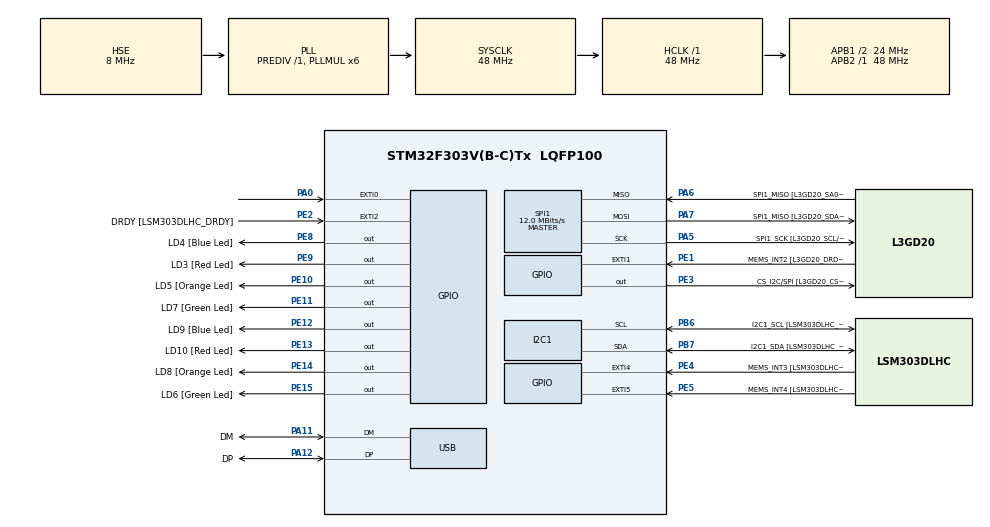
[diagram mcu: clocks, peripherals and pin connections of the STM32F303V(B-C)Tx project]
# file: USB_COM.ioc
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I2C1.Timing-I2C=0x2000090E
Mcu.Family=STM32F3
Mcu.Name=STM32F303V(B-C)Tx
Mcu.Package=LQFP100
NVIC.EXTI0_IRQn=true\:0\:0\:false\:false\:true\:true\:true
NVIC.PVD_IRQn=true\:0\:0\:false\:false\:true\:true\:true
NVIC.PriorityGroup=NVIC_PRIORITYGROUP_4
NVIC.USB_LP_CAN_RX0_IRQn=true\:0\:0\:false\:false\:true\:false\:true
PA0.Signal=GPXTI0
PA11.GPIO_Label=DM
PA11.Mode=Device
PA11.Signal=USB_DM
PA12.GPIO_Label=DP
PA12.Mode=Device
PA12.Signal=USB_DP
PA13.GPIO_Label=SWDIO
PA13.Mode=Serial_Wire
PA13.Signal=SYS_JTMS-SWDIO
PA14.GPIO_Label=SWCLK
PA14.Mode=Serial_Wire
PA14.Signal=SYS_JTCK-SWCLK
PA5.GPIO_Label=SPI1_SCK [L3GD20_SCL/SPC]
PA5.Mode=Full_Duplex_Master
PA5.Signal=SPI1_SCK
PA6.GPIO_Label=SPI1_MISO [L3GD20_SA0/SDO]
PA6.Mode=Full_Duplex_Master
PA6.Signal=SPI1_MISO
PA7.GPIO_Label=SPI1_MISO [L3GD20_SDA/SDI/SDO]
PA7.Mode=Full_Duplex_Master
PA7.Signal=SPI1_MOSI
PB3.GPIO_Label=SWO
PB3.Signal=SYS_JTDO-TRACESWO
PB6.GPIO_Label=I2C1_SCL [LSM303DLHC_SCL]
PB6.Mode=I2C
PB6.Signal=I2C1_SCL
PB7.GPIO_Label=I2C1_SDA [LSM303DLHC_SDA]
PB7.Mode=I2C
PB7.Signal=I2C1_SDA
PC14-OSC32_IN.GPIO_Label=OSC32_IN
PC14-OSC32_IN.Signal=RCC_OSC32_IN
PC15-OSC32_OUT.GPIO_Label=OSC32_OUT
PC15-OSC32_OUT.Signal=RCC_OSC32_OUT
PE1.GPIO_Label=MEMS_INT2 [L3GD20_DRDY/INT2]
PE1.GPIO_ModeDefaultEXTI=GPIO_MODE_EVT_RISING
PE1.Signal=GPXTI1
PE10.GPIO_Label=LD5 [Orange Led]
PE10.Signal=GPIO_Output
PE11.GPIO_Label=LD7 [Green Led]
PE11.Signal=GPIO_Output
PE12.GPIO_Label=LD9 [Blue Led]
PE12.Signal=GPIO_Output
PE13.GPIO_Label=LD10 [Red Led]
PE13.Signal=GPIO_Output
PE14.GPIO_Label=LD8 [Orange Led]
PE14.Signal=GPIO_Output
PE15.GPIO_Label=LD6 [Green Led]
PE15.Signal=GPIO_Output
PE2.GPIO_Label=DRDY [LSM303DLHC_DRDY]
PE2.GPIO_ModeDefaultEXTI=GPIO_MODE_EVT_RISING
PE2.Signal=GPXTI2
PE3.GPIO_Label=CS_I2C/SPI [L3GD20_CS_I2C/SPI]
PE3.Signal=GPIO_Output
PE4.GPIO_Label=MEMS_INT3 [LSM303DLHC_INT1]
PE4.GPIO_ModeDefaultEXTI=GPIO_MODE_EVT_RISING
PE4.Signal=GPXTI4
PE5.GPIO_Label=MEMS_INT4 [LSM303DLHC_INT2]
PE5.GPIO_ModeDefaultEXTI=GPIO_MODE_EVT_RISING
PE5.Signal=GPXTI5
PE8.GPIO_Label=LD4 [Blue Led]
PE8.Signal=GPIO_Output
PE9.GPIO_Label=LD3 [Red Led]
PE9.Signal=GPIO_Output
PF0-OSC_IN.GPIO_Label=OSC_IN
PF0-OSC_IN.Mode=HSE-External-Clock-Source
PF0-OSC_IN.Signal=RCC_OSC_IN
PF1-OSC_OUT.GPIO_Label=OSC_OUT
PF1-OSC_OUT.Signal=RCC_OSC_OUT
ProjectManager.HeapSize=0x200
ProjectManager.StackSize=0x400
ProjectManager.TargetToolchain=MDK-ARM V5
RCC.AHBFreq_Value=48000000
RCC.APB1CLKDivider=RCC_HCLK_DIV2
RCC.APB1Freq_Value=24000000
RCC.APB1TimFreq_Value=48000000
RCC.APB2Freq_Value=48000000
RCC.APB2TimFreq_Value=48000000
RCC.CortexFreq_Value=48000000
RCC.HCLKFreq_Value=48000000
RCC.HSE_VALUE=8000000
RCC.HSI_VALUE=8000000
RCC.LSE_VALUE=32768
RCC.PLLMUL=RCC_PLL_MUL6
RCC.SYSCLKFreq_VALUE=48000000
RCC.SYSCLKSourceVirtual=RCC_SYSCLKSOURCE_PLLCLK
RCC.USBFreq_Value=48000000
SPI1.BaudRatePrescaler=SPI_BAUDRATEPRESCALER_4
SPI1.BaudRatePrescaler-Full_Duplex_Master=SPI_BAUDRATEPRESCALER_2
SPI1.CalculateBaudRate=12.0 MBits/s
SPI1.CalculateBaudRate-Full_Duplex_Master=24.0 MBits/s
SPI1.DataSize=SPI_DATASIZE_8BIT
SPI1.Direction=SPI_DIRECTION_2LINES
SPI1.Mode=SPI_MODE_MASTER
SPI1.Mode-Full_Duplex_Master=SPI_MODE_MASTER
SPI1.VirtualType=VM_MASTER
USB_DEVICE.CLASS_NAME_FS=CDC
USB_DEVICE.VirtualMode=Cdc
USB_DEVICE.VirtualModeFS=Cdc_FS
VP_USB_DEVICE_VS_USB_DEVICE_CDC_FS.Mode=CDC_FS
board=STM32F3DISCOVERY

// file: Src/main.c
/* USER CODE BEGIN Header */
/**
  ******************************************************************************
  * @file           : main.c
  * @brief          : Main program body
  ******************************************************************************
  * @attention
  *
  * <h2><center>&copy; Copyright (c) 2019 STMicroelectronics.
  * All rights reserved.</center></h2>
  *
  * This software component is licensed by ST under Ultimate Liberty license
  * SLA0044, the "License"; You may not use this file except in compliance with
  * the License. You may obtain a copy of the License at:
  *                             www.st.com/SLA0044
  *
  ******************************************************************************
  */
/* USER CODE END Header */

#include "main.h"
#include "usb_device.h"

/* USER CODE BEGIN PTD */
_Bool Flag=0;
/* USER CODE END PTD */

I2C_HandleTypeDef hi2c1;

SPI_HandleTypeDef hspi1;

void SystemClock_Config(void);
static void MX_GPIO_Init(void);
static void MX_I2C1_Init(void);
static void MX_SPI1_Init(void);

int main(void)
{

  /* MCU Configuration--------------------------------------------------------*/

  /* Reset of all peripherals, Initializes the Flash interface and the Systick. */
  HAL_Init();

  /* Configure the system clock */
  SystemClock_Config();

  /* Initialize all configured peripherals */
  MX_GPIO_Init();
  MX_I2C1_Init();
  MX_SPI1_Init();
  MX_USB_DEVICE_Init();
  /* USER CODE BEGIN 2 */
	HAL_GPIO_WritePin(GPIOE, LD3_Pin | LD10_Pin | LD6_Pin | LD7_Pin, GPIO_PIN_SET);
	extern USBD_HandleTypeDef *hUsbDeviceFS;

	uint8_t dataToSend[] =  "Hello word!\r";
	uint16_t Len=12;
	uint8_t address = 0x20;
	uint8_t data = 0;

	HAL_GPIO_WritePin(GPIOE, GPIO_PIN_3, GPIO_PIN_RESET);
	HAL_SPI_Transmit(&hspi1, &address, sizeof(address), 0x1000);
	address = 0x0F;
	HAL_SPI_Transmit(&hspi1, &address, sizeof(address), 0x1000);
	HAL_GPIO_WritePin(GPIOE, GPIO_PIN_3, GPIO_PIN_SET);

	HAL_GPIO_WritePin(GPIOE, GPIO_PIN_3, GPIO_PIN_RESET);
	address = 0x8F; //10001111 - WHO_AM_I - READ
	HAL_SPI_Transmit(&hspi1, &address, sizeof(address), 0x1000);
	address = 0x00; //00000000
	HAL_SPI_TransmitReceive(&hspi1, &address, &data, sizeof(data), 0x1000);
	HAL_GPIO_WritePin(GPIOE, GPIO_PIN_3, GPIO_PIN_SET);
	if(data == 0xD4){
		HAL_GPIO_WritePin(LD9_GPIO_Port, LD9_Pin, GPIO_PIN_SET);
	}
  /* USER CODE END 2 */

  /* Infinite loop */
  while (1)
  {

    /* USER CODE BEGIN 3 */
		CDC_Transmit_FS(dataToSend, Len);
		HAL_Delay(1000);
		if(Flag){
			CDC_Transmit_FS(data, 1);
			Flag = 0;
			HAL_Delay(1000);
		}
  }
  /* USER CODE END 3 */
}

void SystemClock_Config(void)
{
  RCC_OscInitTypeDef RCC_OscInitStruct = {0};
  RCC_ClkInitTypeDef RCC_ClkInitStruct = {0};
  RCC_PeriphCLKInitTypeDef PeriphClkInit = {0};

  /** Initializes the CPU, AHB and APB busses clocks
  */
  RCC_OscInitStruct.OscillatorType = RCC_OSCILLATORTYPE_HSI|RCC_OSCILLATORTYPE_HSE;
  RCC_OscInitStruct.HSEState = RCC_HSE_BYPASS;
  RCC_OscInitStruct.HSEPredivValue = RCC_HSE_PREDIV_DIV1;
  RCC_OscInitStruct.HSIState = RCC_HSI_ON;
  RCC_OscInitStruct.HSICalibrationValue = RCC_HSICALIBRATION_DEFAULT;
  RCC_OscInitStruct.PLL.PLLState = RCC_PLL_ON;
  RCC_OscInitStruct.PLL.PLLSource = RCC_PLLSOURCE_HSE;
  RCC_OscInitStruct.PLL.PLLMUL = RCC_PLL_MUL6;
  if (HAL_RCC_OscConfig(&RCC_OscInitStruct) != HAL_OK)
  {
    Error_Handler();
  }
  /** Initializes the CPU, AHB and APB busses clocks
  */
  RCC_ClkInitStruct.ClockType = RCC_CLOCKTYPE_HCLK|RCC_CLOCKTYPE_SYSCLK
                              |RCC_CLOCKTYPE_PCLK1|RCC_CLOCKTYPE_PCLK2;
  RCC_ClkInitStruct.SYSCLKSource = RCC_SYSCLKSOURCE_PLLCLK;
  RCC_ClkInitStruct.AHBCLKDivider = RCC_SYSCLK_DIV1;
  RCC_ClkInitStruct.APB1CLKDivider = RCC_HCLK_DIV2;
  RCC_ClkInitStruct.APB2CLKDivider = RCC_HCLK_DIV1;

  if (HAL_RCC_ClockConfig(&RCC_ClkInitStruct, FLASH_LATENCY_1) != HAL_OK)
  {
    Error_Handler();
  }
  PeriphClkInit.PeriphClockSelection = RCC_PERIPHCLK_USB|RCC_PERIPHCLK_I2C1;
  PeriphClkInit.I2c1ClockSelection = RCC_I2C1CLKSOURCE_HSI;
  PeriphClkInit.USBClockSelection = RCC_USBCLKSOURCE_PLL;
  if (HAL_RCCEx_PeriphCLKConfig(&PeriphClkInit) != HAL_OK)
  {
    Error_Handler();
  }
}

static void MX_I2C1_Init(void)
{

  hi2c1.Instance = I2C1;
  hi2c1.Init.Timing = 0x2000090E;
  hi2c1.Init.OwnAddress1 = 0;
  hi2c1.Init.AddressingMode = I2C_ADDRESSINGMODE_7BIT;
  hi2c1.Init.DualAddressMode = I2C_DUALADDRESS_DISABLE;
  hi2c1.Init.OwnAddress2 = 0;
  hi2c1.Init.OwnAddress2Masks = I2C_OA2_NOMASK;
  hi2c1.Init.GeneralCallMode = I2C_GENERALCALL_DISABLE;
  hi2c1.Init.NoStretchMode = I2C_NOSTRETCH_DISABLE;
  if (HAL_I2C_Init(&hi2c1) != HAL_OK)
  {
    Error_Handler();
  }
  /** Configure Analogue filter
  */
  if (HAL_I2CEx_ConfigAnalogFilter(&hi2c1, I2C_ANALOGFILTER_ENABLE) != HAL_OK)
  {
    Error_Handler();
  }
  /** Configure Digital filter
  */
  if (HAL_I2CEx_ConfigDigitalFilter(&hi2c1, 0) != HAL_OK)
  {
    Error_Handler();
  }

}

static void MX_SPI1_Init(void)
{

  /* SPI1 parameter configuration*/
  hspi1.Instance = SPI1;
  hspi1.Init.Mode = SPI_MODE_MASTER;
  hspi1.Init.Direction = SPI_DIRECTION_2LINES;
  hspi1.Init.DataSize = SPI_DATASIZE_8BIT;
  hspi1.Init.CLKPolarity = SPI_POLARITY_LOW;
  hspi1.Init.CLKPhase = SPI_PHASE_1EDGE;
  hspi1.Init.NSS = SPI_NSS_SOFT;
  hspi1.Init.BaudRatePrescaler = SPI_BAUDRATEPRESCALER_4;
  hspi1.Init.FirstBit = SPI_FIRSTBIT_MSB;
  hspi1.Init.TIMode = SPI_TIMODE_DISABLE;
  hspi1.Init.CRCCalculation = SPI_CRCCALCULATION_DISABLE;
  hspi1.Init.CRCPolynomial = 7;
  hspi1.Init.CRCLength = SPI_CRC_LENGTH_DATASIZE;
  hspi1.Init.NSSPMode = SPI_NSS_PULSE_ENABLE;
  if (HAL_SPI_Init(&hspi1) != HAL_OK)
  {
    Error_Handler();
  }

}

static void MX_GPIO_Init(void)
{
  GPIO_InitTypeDef GPIO_InitStruct = {0};

  /* GPIO Ports Clock Enable */
  __HAL_RCC_GPIOE_CLK_ENABLE();
  __HAL_RCC_GPIOC_CLK_ENABLE();
  __HAL_RCC_GPIOF_CLK_ENABLE();
  __HAL_RCC_GPIOA_CLK_ENABLE();
  __HAL_RCC_GPIOB_CLK_ENABLE();

  /*Configure GPIO pin Output Level */
  HAL_GPIO_WritePin(GPIOE, CS_I2C_SPI_Pin|LD4_Pin|LD3_Pin|LD5_Pin
                          |LD7_Pin|LD9_Pin|LD10_Pin|LD8_Pin
                          |LD6_Pin, GPIO_PIN_RESET);

  /*Configure GPIO pins : DRDY_Pin MEMS_INT3_Pin MEMS_INT4_Pin MEMS_INT2_Pin */
  GPIO_InitStruct.Pin = DRDY_Pin|MEMS_INT3_Pin|MEMS_INT4_Pin|MEMS_INT2_Pin;
  GPIO_InitStruct.Mode = GPIO_MODE_EVT_RISING;
  GPIO_InitStruct.Pull = GPIO_NOPULL;
  HAL_GPIO_Init(GPIOE, &GPIO_InitStruct);

  /*Configure GPIO pins : CS_I2C_SPI_Pin LD4_Pin LD3_Pin LD5_Pin
                           LD7_Pin LD9_Pin LD10_Pin LD8_Pin
                           LD6_Pin */
  GPIO_InitStruct.Pin = CS_I2C_SPI_Pin|LD4_Pin|LD3_Pin|LD5_Pin
                          |LD7_Pin|LD9_Pin|LD10_Pin|LD8_Pin
                          |LD6_Pin;
  GPIO_InitStruct.Mode = GPIO_MODE_OUTPUT_PP;
  GPIO_InitStruct.Pull = GPIO_NOPULL;
  GPIO_InitStruct.Speed = GPIO_SPEED_FREQ_LOW;
  HAL_GPIO_Init(GPIOE, &GPIO_InitStruct);

  /*Configure GPIO pin : PA0 */
  GPIO_InitStruct.Pin = GPIO_PIN_0;
  GPIO_InitStruct.Mode = GPIO_MODE_IT_RISING;
  GPIO_InitStruct.Pull = GPIO_NOPULL;
  HAL_GPIO_Init(GPIOA, &GPIO_InitStruct);

  /* EXTI interrupt init*/
  HAL_NVIC_SetPriority(EXTI0_IRQn, 0, 0);
  HAL_NVIC_EnableIRQ(EXTI0_IRQn);

}

/* USER CODE BEGIN 4 */
void EXTI15_10_IRQHandler(void){
	HAL_GPIO_EXTI_IRQHandler(GPIO_PIN_0);
}

void HAL_GPIO_EXTI_Callback(uint16_t GPIO_PIN){
	if(GPIO_PIN == GPIO_PIN_0){
		Flag = 1;
	}
	else Flag = 0;
}
/* USER CODE END 4 */

void Error_Handler(void)
{
}

/************************ (C) COPYRIGHT STMicroelectronics *****END OF FILE****/
